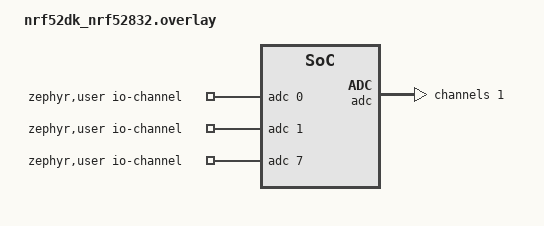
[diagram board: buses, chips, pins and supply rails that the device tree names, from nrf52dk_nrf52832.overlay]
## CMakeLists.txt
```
cmake_minimum_required(VERSION 3.20.0)
find_package(Zephyr REQUIRED HINTS $ENV{ZEPHYR_BASE})

project(ADC_Read)

target_sources(app PRIVATE src/main.c)
```

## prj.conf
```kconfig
CONFIG_ADC=y
CONFIG_SERIAL=y
```

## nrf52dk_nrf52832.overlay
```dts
/ {
	zephyr,user {
		io-channels = <&adc 0>,<&adc 1>, <&adc 7>;
	};
};

&adc {
	#address-cells = <1>;
	#size-cells = <0>;

	channel@1 {
		reg = <1>;
		zephyr,gain = "ADC_GAIN_1_6";
		zephyr,reference = "ADC_REF_INTERNAL";
		zephyr,acquisition-time = <ADC_ACQ_TIME_DEFAULT>;
		zephyr,input-positive = <NRF_SAADC_VDD>;
		zephyr,input-positive = <NRF_SAADC_AIN2>; /* P0.04 */
		zephyr,resolution = <14>;
		zephyr,oversampling = <8>;
	};

};
```

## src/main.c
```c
#include <inttypes.h>
#include <stddef.h>
#include <stdint.h>

#include <zephyr/device.h>
#include <zephyr/devicetree.h>
#include <zephyr/drivers/adc.h>
#include <zephyr/kernel.h>
#include <zephyr/sys/printk.h>
#include <zephyr/sys/util.h>

#if !DT_NODE_EXISTS(DT_PATH(zephyr_user)) || \
	!DT_NODE_HAS_PROP(DT_PATH(zephyr_user), io_channels)
#error "No suitable devicetree overlay specified"
#endif

#define DT_SPEC_AND_COMMA(node_id, prop, idx) \
	ADC_DT_SPEC_GET_BY_IDX(node_id, idx),

/* Data of ADC io-channels specified in devicetree. */
static const struct adc_dt_spec adc_channels[] = {
	DT_FOREACH_PROP_ELEM(DT_PATH(zephyr_user), io_channels,
			     DT_SPEC_AND_COMMA)
};

int main(void)
{
	int err;
	uint32_t count = 0;
	uint16_t buf;
	struct adc_sequence sequence = {
		.buffer = &buf,
		/* buffer size in bytes, not number of samples */
		.buffer_size = sizeof(buf),
	};

	/* Configure only channel 1 (index 0) */
	size_t channel_index = 1; // Change this to 1 for channel 1
	if (!device_is_ready(adc_channels[channel_index].dev)) {
		printk("ADC controller device %s not ready\n", adc_channels[channel_index].dev->name);
		return 0;
	}

	err = adc_channel_setup_dt(&adc_channels[channel_index]);
	if (err < 0) {
		printk("Could not setup channel #%zu (%d)\n", channel_index, err);
		return 0;
	}

	while (1) {
		int32_t val_mv;

		// Initialize the ADC sequence
		(void)adc_sequence_init_dt(&adc_channels[channel_index], &sequence);

		// Read from the ADC
		err = adc_read(adc_channels[channel_index].dev, &sequence);
		if (err < 0) {
			printk("Could not read (%d)\n", err);
			continue;
		}

		// Handle differential mode if necessary
		if (adc_channels[channel_index].channel_cfg.differential) {
			val_mv = (int32_t)((int16_t)buf);
		} else {
			val_mv = (int32_t)buf;
		}

		// Convert raw value to millivolts
		err = adc_raw_to_millivolts_dt(&adc_channels[channel_index], &val_mv);
		if (err < 0) {
			printk(" (value in mV not available)\n");
		} else {
			// Format output as required
			printk("- adc@channel %d = %" PRId32 " mV\n",
			       adc_channels[channel_index].channel_id, val_mv);
		}

		k_sleep(K_MSEC(1000));
	}
	return 0;
}
```
